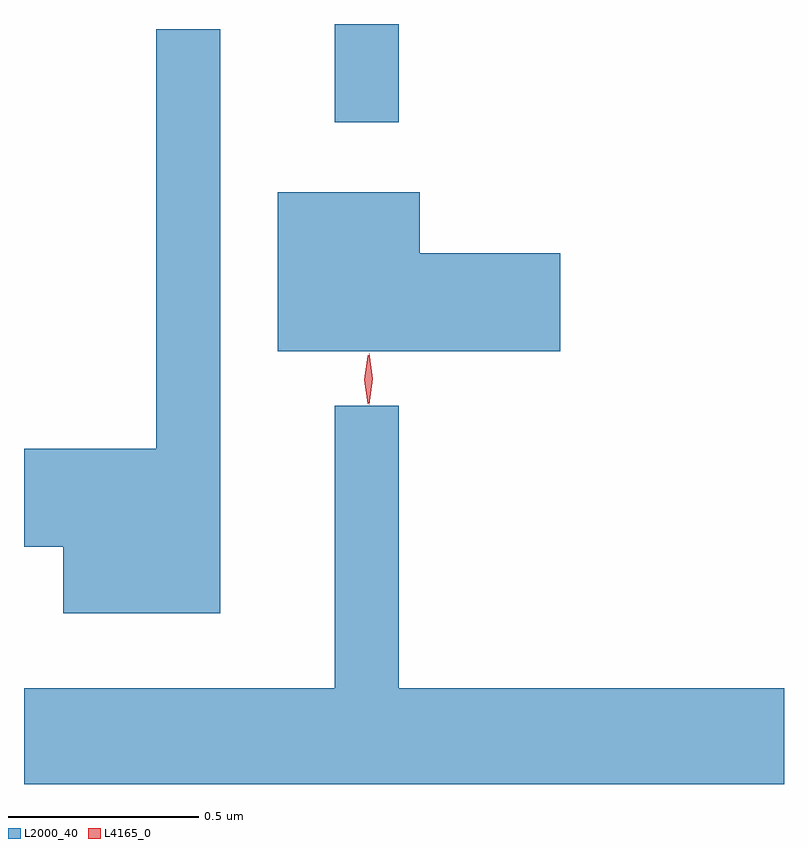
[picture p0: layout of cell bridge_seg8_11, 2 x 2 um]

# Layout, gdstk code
import gdstk
lib = gdstk.Library(unit=1e-6, precision=1e-09)
def R(c, l, rs):  # rectangles x0, y0, x1, y1
    for r in rs: c.add(gdstk.rectangle(r[:2], r[2:], *l))
def P(c, l, *ps):  # polygons
    for p in ps: c.add(gdstk.Polygon(p, *l))
L2000_40 = (2000, 40)
L4165_0 = (4165, 0)

bridge_seg8_11 = lib.new_cell('bridge_seg8_11')
R(bridge_seg8_11, L2000_40, [(1745.961,1929.193,1746.129,1929.452)])
P(bridge_seg8_11, L2000_40, [(1745.659,1929.438),(1745.491,1929.438),(1745.491,1928.334),(1745.143,1928.334),(1745.143,1928.076),(1745.246,1928.076),(1745.246,1927.901),(1745.659,1927.901)],
  [(1746.554,1928.849),(1746.184,1928.849),(1746.184,1929.009),(1745.811,1929.009),(1745.811,1928.591),(1746.554,1928.591)],
  [(1747.143,1927.704),(1746.129,1927.704),(1746.129,1928.448),(1745.961,1928.448),(1745.961,1927.704),(1745.143,1927.704),(1745.143,1927.452),(1747.143,1927.452)])
P(bridge_seg8_11, L4165_0, [(1746.051,1928.45),(1746.051,1928.45),(1746.041,1928.518),(1746.051,1928.586),(1746.051,1928.586),(1746.052,1928.586),(1746.061,1928.518),(1746.052,1928.45)],
  [(1746.048,1928.453),(1746.048,1928.453),(1746.038,1928.516),(1746.048,1928.579),(1746.048,1928.58),(1746.049,1928.579),(1746.058,1928.516),(1746.049,1928.453)])

lib.write_gds('bridge_seg8_11.gds')
